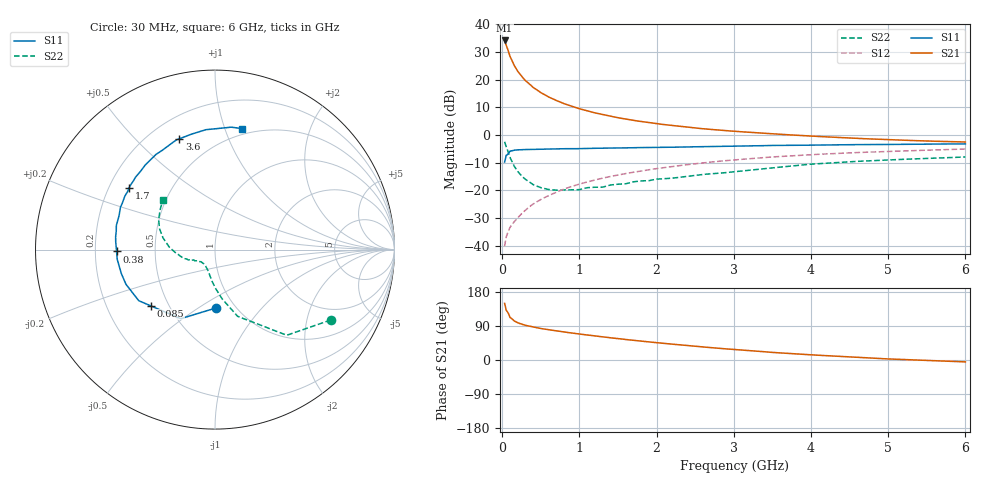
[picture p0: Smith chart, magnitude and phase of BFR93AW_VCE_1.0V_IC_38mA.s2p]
! Infineon Technologies  Discrete & RF Semiconductors
! BFR93AW
! VCE =  1.0 V,  IC =  38 mA
! Common Emitter S-Parameters:  Nov 2015
# GHz  S  MA  R  50
!  f  S11  S21  S12  S22
! GHz  MAG  ANG  MAG  ANG  MAG  ANG  MAG  ANG
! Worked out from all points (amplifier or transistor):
!   206 points, 30 MHz to 6 GHz, reference 50 ohm
!   highest |S21| = 34.2 dB at 30 MHz (marker M1)
!   |S21| within 3 dB of that: start of sweep to 67.63 MHz
!   unconditionally stable (mu >= 1): 319.2 MHz to 2.818 GHz
!   at 200 MHz: K = 0.91, MSG = 26.5 dB, |S12| = -30.0 dB
!   at 1.56 GHz: K = 1.07, MAG = 8.4 dB, |S12| = -14.1 dB
!   at 6 GHz: K = 0.99, MSG = 1.3 dB, |S12| = -5.1 dB
!   S11 on the Smith chart (normalised r, x): 30 MHz: 0.82, -0.59; 85 MHz: 0.40, -0.32; 380 MHz: 0.29, -0.01; 1.7 GHz: 0.28, +0.30; 3.6 GHz: 0.32, +0.68; 6 GHz: 0.45, +1.15
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0.03  0.3251 -89.0  51.13 149.4  0.0098 68.6  0.7549 -31.3
0.05  0.4299 -116.4  42.19 131.6  0.0143 63.1  0.6228 -50.0
0.085  0.4743 -138.5  30.66 120.2  0.0193 61.4  0.4538 -62.7
0.1  0.5115 -146.2  26.33 112.3  0.0214 60.9  0.3923 -71.3
0.15  0.5323 -158.7  18.44 103.5  0.0267 62.4  0.2786 -81.6
0.2  0.5388 -165.7  14.15 98.1  0.0317 65.1  0.2195 -88.7
0.24  0.5413 -169.9  11.97 95.3  0.0366 66.8  0.1884 -93.3
0.3  0.5474 -174.3  9.587 91.4  0.0438 68.8  0.1582 -98.9
0.38  0.5485 -178.9  7.699 87.9  0.054 70.4  0.1328 -105.1
0.4  0.5493 180.0  7.233 86.8  0.0566 70.7  0.1268 -107.0
0.5  0.5547 176.0  5.822 83.0  0.0685 71.8  0.1118 -115.5
0.6  0.5582 172.6  4.875 79.8  0.0802 72.0  0.1036 -120.7
0.8  0.5659 166.2  3.687 73.8  0.1053 71.2  0.1019 -133.0
1.04  0.5687 159.6  2.879 67.5  0.1346 69.5  0.1064 -140.7
1.32  0.578 153.0  2.311 60.5  0.1685 67.0  0.1163 -147.6
1.7  0.5902 144.2  1.837 51.8  0.2127 63.2  0.1427 -155.4
2.02  0.5991 137.4  1.588 45.2  0.2494 59.7  0.1599 -159.0
3.1  0.6293 116.4  1.144 26.3  0.3631 47.2  0.2233 -176.1
3.6  0.6486 107.9  1.03 18.8  0.409 41.2  0.2629 174.7
4.1  0.6583 100.1  0.94 12.5  0.4483 35.1  0.3033 165.5
5.1  0.6771 87.1  0.815 2.1  0.5104 24.3  0.3595 150.4
6  0.691 77.3  0.748 -5.0  0.5582 15.5  0.4007 136.5
